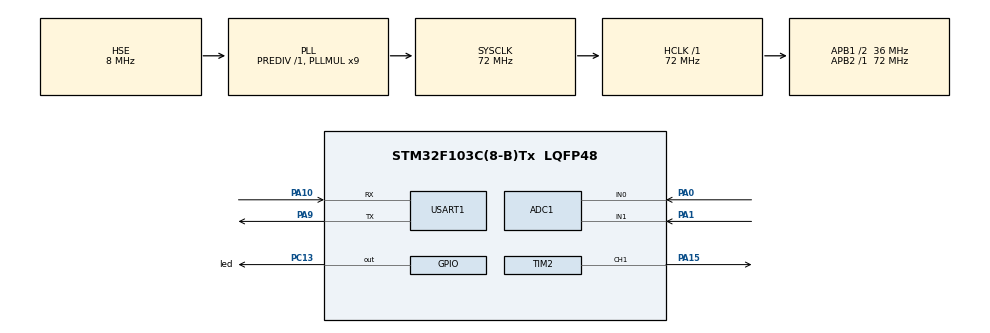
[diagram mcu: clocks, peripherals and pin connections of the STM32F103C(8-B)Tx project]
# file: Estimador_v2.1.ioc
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Mcu.Family=STM32F1
RCC.PLLSourceVirtual=RCC_PLLSOURCE_HSE
NVIC.ADC1_2_IRQn=true\:0\:0\:false\:false\:true\:true\:true
Dma.ADC1.0.Instance=DMA1_Channel1
ADC1.Rank-0\#ChannelRegularConversion=1
TIM3.Channel-Output\ Compare1\ No\ Output=TIM_CHANNEL_1
PD1-OSC_OUT.Mode=HSE-External-Oscillator
PA10.Mode=Asynchronous
PC13-TAMPER-RTC.Signal=GPIO_Output
PD0-OSC_IN.Signal=RCC_OSC_IN
RCC.APB1CLKDivider=RCC_HCLK_DIV2
RCC.SYSCLKSource=RCC_SYSCLKSOURCE_PLLCLK
ProjectManager.StackSize=0x400
PA0-WKUP.Signal=ADCx_IN0
TIM2.Pulse-PWM\ Generation1\ CH1=127
PD1-OSC_OUT.Signal=RCC_OSC_OUT
RCC.ADCPresc=RCC_ADCPCLK2_DIV6
PA13.Signal=SYS_JTMS-SWDIO
Dma.ADC1.0.PeriphDataAlignment=DMA_PDATAALIGN_HALFWORD
PA9.Mode=Asynchronous
ProjectManager.TargetToolchain=STM32CubeIDE
Dma.ADC1.0.Mode=DMA_CIRCULAR
RCC.HCLKFreq_Value=72000000
Dma.ADC1.0.Priority=DMA_PRIORITY_LOW
RCC.APB2TimFreq_Value=72000000
TIM3.Period=2 - 1
PA9.Signal=USART1_TX
ADC1.Channel-1\#ChannelRegularConversion=ADC_CHANNEL_1
Dma.ADC1.0.Direction=DMA_PERIPH_TO_MEMORY
RCC.USBFreq_Value=72000000
TIM4.Prescaler=72 - 1
Dma.ADC1.0.MemDataAlignment=DMA_MDATAALIGN_HALFWORD
PA1.Signal=ADCx_IN1
RCC.AHBFreq_Value=72000000
PD0-OSC_IN.Mode=HSE-External-Oscillator
ADC1.Channel-0\#ChannelRegularConversion=ADC_CHANNEL_0
board=custom
VP_TIM3_VS_no_output1.Mode=Output Compare1 No Output
PC13-TAMPER-RTC.GPIO_Label=led
RCC.PLLMUL=RCC_PLL_MUL9
RCC.APB2Freq_Value=72000000
VP_TIM2_VS_ClockSourceINT.Mode=Internal
PA14.Mode=Serial_Wire
TIM3.Prescaler=720 - 1
Dma.ADC1.0.PeriphInc=DMA_PINC_DISABLE
SH.ADCx_IN0.0=ADC1_IN0,IN0
TIM2.Channel-PWM\ Generation1\ CH1=TIM_CHANNEL_1
SH.S_TIM3_CH1.0=TIM3_CH1
TIM2.Period=256 - 1
TIM4.Period=65536 - 1
ADC1.NbrOfConversion=2
PA13.Mode=Serial_Wire
Mcu.Name=STM32F103C(8-B)Tx
ADC1.SamplingTime-0\#ChannelRegularConversion=ADC_SAMPLETIME_1CYCLE_5
ADC1.ExternalTrigConv=ADC_EXTERNALTRIGCONV_T3_TRGO
ADC1.SamplingTime-1\#ChannelRegularConversion=ADC_SAMPLETIME_1CYCLE_5
RCC.SYSCLKFreq_VALUE=72000000
Mcu.Package=LQFP48
TIM2.Prescaler=1 - 1
ADC1.master=1
USART1.VirtualMode=VM_ASYNC
ADC1.Rank-1\#ChannelRegularConversion=2
SH.S_TIM2_CH1_ETR.0=TIM2_CH1,PWM Generation1 CH1
PA10.Signal=USART1_RX
PA14.Signal=SYS_JTCK-SWCLK
Dma.ADC1.0.MemInc=DMA_MINC_ENABLE
PA15.Signal=S_TIM2_CH1_ETR
ProjectManager.HeapSize=0x200
VP_TIM4_VS_ClockSourceINT.Mode=Internal
NVIC.PriorityGroup=NVIC_PRIORITYGROUP_4
ADC1.NbrOfConversionFlag=1
SH.ADCx_IN1.0=ADC1_IN1,IN1
RCC.APB1TimFreq_Value=72000000
NVIC.DMA1_Channel1_IRQn=true\:0\:0\:false\:false\:true\:false\:true
TIM3.TIM_MasterOutputTrigger=TIM_TRGO_UPDATE
NVIC.USART1_IRQn=true\:0\:0\:false\:false\:true\:true\:true
Dma.Request0=ADC1
RCC.APB1Freq_Value=36000000
VP_TIM3_VS_ClockSourceINT.Mode=Internal
PB4.Signal=S_TIM3_CH1

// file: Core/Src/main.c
/* USER CODE BEGIN Header */
/**
  ******************************************************************************
  * @file           : main.c
  * @brief          : Main program body
  ******************************************************************************
  * @attention
  *
  * <h2><center>&copy; Copyright (c) 2021 STMicroelectronics.
  * All rights reserved.</center></h2>
  *
  * This software component is licensed by ST under BSD 3-Clause license,
  * the "License"; You may not use this file except in compliance with the
  * License. You may obtain a copy of the License at:
  *                        opensource.org/licenses/BSD-3-Clause
  *
  ******************************************************************************
  */
/* USER CODE END Header */
#include "main.h"

/* USER CODE BEGIN Includes */
#include <stdio.h>
#include <stdlib.h>
#include <string.h>
#include <math.h>
#include "muestras.h"
#include "fdacoefs.h"
#include "fda_derivador.h"

/* USER CODE END Includes */

/* USER CODE BEGIN PM */
#define min(a,b) (((a)<(b))?(a):(b))
#define max(a,b) (((a)>(b))?(a):(b))
/* USER CODE END PM */

ADC_HandleTypeDef hadc1;
DMA_HandleTypeDef hdma_adc1;

TIM_HandleTypeDef htim2;
TIM_HandleTypeDef htim3;
TIM_HandleTypeDef htim4;

UART_HandleTypeDef huart1;

/* USER CODE BEGIN PV */
volatile uint16_t counter = 0;
const int pwmGain = 800;
volatile int8_t sign = 1;
uint16_t numViL;

uint16_t tStart, tEnd, tTotal;

uint8_t printSerial = 0;
uint32_t tLast = 0;
const uint8_t printInterval = 20;		//20 ms

#define adcSamples 100
uint16_t adcBuf[adcSamples];

volatile uint16_t adcVal[2];
#define numSamples  adcSamples / 2

uint16_t adc_ch0[numSamples];
uint16_t adc_ch1[numSamples];

volatile uint8_t adcConverted = 0;
/*const uint16_t fs = 50000;
const float RL = 0.2;
const float L_4mm = 16.2e-3;
float ViL[numSamples];
float IL[numSamples];
float ILmed;
float deltaIL;
float derivadas[numSamples];
float Yestimada[numSamples];
float Yestimada_promedio;
*/

const int fixedPointGain = 1000;
const uint16_t fs = 50000;
const float RL = 0.2;
const float L_4mm = 16.2e-3;
const float Kh = 0.05;				//transductancia del sensor de efecto Hall
uint16_t vilIndex = 0;
#define N_ADC 16
const int n = N_ADC - 1;
uint16_t muestrasHall[N_ADC];
uint16_t muestrasRef[N_ADC];
int32_t muestrasADC[N_ADC];
int32_t IL[N_ADC];
int32_t ILmed;
float deltaIL;
int16_t derivadas[N_ADC];
int32_t derivadas_filtrada[N_ADC];
int32_t Yestimada[N_ADC];
int32_t Yestimada_filtrada[N_ADC];

void getViL(float * ViL, uint16_t * adc){
	float res = 3.3 / 4096;
	for(int i = 0; i < numSamples; i++){
		ViL[i] = adc[i] * res;
	}
}

float corriente(float Xn){
		return Xn / Kh;
}

float corriente_media(float * IL){
	float sum = 0;
	for(int i = 0; i<numSamples; i++){
		sum += IL[i];
	}
	return sum/numSamples;
}

float delta_corriente(float * IL){
	float ILmax = 0;
	float ILmin = 100;
	for(int i= 0; i<numSamples; i++){
		ILmax = max(IL[i], ILmax);
		ILmin = min(IL[i], ILmin);
	}
	return ILmax - ILmin;
}

int16_t derivar(uint16_t * muestrasHall){
	int16_t deriv = (muestrasHall[n] - muestrasHall[n - 1]);	//acá tengo la diferencia en el número que lee el adc
//	deriv += ILmed * 0.05 * RL / L_4mm;			//corrección I * R
	return deriv;
}

float estimar(int16_t derivada){
		float estim = abs(derivada) * 4.74e-3 - 4.55e-3;
		if(estim < 800e-3)
			return estim;
		else
			return 8e-3;						//esto lo hago para que la primera muestra no sea tan erronea
}

float filtrar(float * X, const float * B){			//acá la Y significa la salida del filtro, no la posición en mm
	float out = 0;
	for (int i = 0; i < N_ADC; i++) {				//acá aplico el filtro
		out += B[i] * X[n - i];			//B son los coeficientes de un filtro FIR
	 }
	 return out;
}

float promediar(float * Yestimada){
	float sum = 0;
	for(int i = 0; i < numSamples; i++){
		sum += Yestimada[i];
	}
	return sum / numSamples;
}

/* USER CODE END PV */

void SystemClock_Config(void);
static void MX_GPIO_Init(void);
static void MX_DMA_Init(void);
static void MX_TIM3_Init(void);
static void MX_TIM4_Init(void);
static void MX_ADC1_Init(void);
static void MX_TIM2_Init(void);
static void MX_USART1_UART_Init(void);

int main(void)
{

  /* MCU Configuration--------------------------------------------------------*/

  /* Reset of all peripherals, Initializes the Flash interface and the Systick. */
  HAL_Init();

  /* Configure the system clock */
  SystemClock_Config();

  /* Initialize all configured peripherals */
  MX_GPIO_Init();
  MX_DMA_Init();
  MX_TIM3_Init();
  MX_TIM4_Init();
  MX_ADC1_Init();
  MX_TIM2_Init();
  MX_USART1_UART_Init();
  /* USER CODE BEGIN 2 */
  /*
  //esto es para generar una señal de prueba en pwm. Se puede anular esta parte cuando hacemos pruebas en la placa real
   HAL_TIM_PWM_Start(&htim2, TIM_CHANNEL_1);
   HAL_TIM_Base_Start_IT(&htim4);
   //uint16_t loopDelay = 1;
    numViL = sizeof(ViLmuestras)/sizeof(ViLmuestras[0]);
    int loopCount = 0;
 */

   //cosas del adc
   HAL_TIM_Base_Start(&htim3);				//inicio el timer 3 para comenzar las conversiones del ADC
   HAL_ADC_Start_DMA(&hadc1, (uint32_t *) adcVal, 2);			//inicio adc dma
       	  	  	  	  	  	  	  	  	  	  	  	  	  	  	//para que lea la cantidad numSamples
   	  	  	  	  	  	  	  	  	  	  	  	  	  	  	  	//y luego dispare una interrupción
   //para medir el tiempo que tarda en ejecutar el código
   HAL_TIM_Base_Start(&htim4);

  /* USER CODE END 2 */

  /* Infinite loop */
  while (1)
  {

    /* USER CODE BEGIN 3 */

	  if(adcConverted){
		 tStart = __HAL_TIM_GET_COUNTER(&htim4);		//para calcular el tiempo que tarda
		 adcConverted = 0;								//reseteo el flag del adc
		// HAL_TIM_Base_Stop(&htim3);			//paro el timer del adc (esto es temporal)
		// HAL_GPIO_TogglePin(led_GPIO_Port, led_Pin);		//esto es para ver la frecuencia de muestreo

		 //esto es para separar las muestras del canal 1 y el 2
		 //leo la muestra de corriente y la pongo al final del array del sensor de efecto hall
		  muestrasHall[n] = adcVal[0];
		  muestrasRef[n] = adcVal[1];

		  //convierto el valor del ADC en valor de tensión
		  //muestrasADC[n] = (muestrasHall[n] * 3.3 / 4096) / pwmGain;
		//  muestrasADC[n] = muestrasHall[n] * (8.056e-4 * fixedPointGain);	//3.3/4096 = 8.056e-4

		//  IL[n] = corriente(muestrasADC[n]);					//calculo el valor en corriente
		//  ILmed = (IL[n] + ILmed) / 2;							//añado al promedio movil
		  //deltaIL
		  derivadas[n]  = derivar(muestrasHall);			//calculo la derivada con la muestra anterior
		  //derivadas_filtrada[n] = filtrar(derivadas, Bderiv);	//filtro las derivadas obtenidas
		  Yestimada[n]  = estimar(derivadas[n]);
		  //Yestimada_filtrada[n] = filtrar(Yestimada, Bposicion);	//filtro

		  //acá paso todos los valores un lugar a la izquierda
		  //for (int i = n; i > 0; i--) {
				//muestrasHall[n - i] = muestrasHall[n - i + 1];
				//muestrasRef[n - i] = muestrasRef[n - i + 1];
				//muestrasADC[n - i] = muestrasADC[n - i + 1];
				//IL[n - i] = IL[n - i + 1];
				//derivadas[n - i] = derivadas[n - i + 1];
				//derivadas_filtrada[n - i] = derivadas_filtrada[n - i + 1];
				//Yestimada[n - i] = Yestimada[n - i + 1];
				//Yestimada_filtrada[n - i] = Yestimada_filtrada[n - i + 1];
		//	  }

		  muestrasHall[n - 1] = muestrasHall[n];

		  //esto es para graficar cada 20ms
	/*	  if(printSerial){
			  if(HAL_GetTick() - tLast > printInterval){
				  tLast = HAL_GetTick();
					 // uint16_t s1 = Yestimada[n] * 1e6;
					 // uint16_t s2 = Yestimada_filtrada[n] * 1e6;
					  uint16_t s1 = derivadas[n];
					  uint16_t s2 = derivadas_filtrada[n];
					 // uint16_t s1 = muestrasRef[n];
					 // uint16_t s1 = muestrasADC[n] * 1e6;
					 // uint16_t s2 = ILmed * 1e6;
					  char str[20];
					  sprintf(str, "%d,%d\r\n", s1, s2);
					 // sprintf(str, "%d\r\n", s1);
					  HAL_UART_Transmit(&huart1, (uint8_t * ) str, strlen(str), 100);
			  }
		  }
		  else if(++loopCount == 10000) {     //esto es para pausar el muestreo y graficar variables, después de cierta cantidad de muestras
			 for(uint8_t i = 0; i < N_ADC; i++){
				// uint16_t s1 = derivadas[i];
				 uint16_t s1 = muestrasHall[i];
				 char str[20];
				 // sprintf(str, "%d,%d\r\n", s1, s2);
				 sprintf(str, "%d\r\n", s1);
				 HAL_UART_Transmit(&huart1, (uint8_t * ) str, strlen(str), 100);
			 }
			 loopCount = 0;
		 }   */

		 tEnd = __HAL_TIM_GET_COUNTER(&htim4);
		 tTotal = tEnd - tStart;
		 HAL_GPIO_TogglePin(led_GPIO_Port, led_Pin);		//esto es para ver cuanto tarda en ejecutar el código
		// HAL_TIM_Base_Start(&htim3);
	 }

  }
  /* USER CODE END 3 */
}

void SystemClock_Config(void)
{
  RCC_OscInitTypeDef RCC_OscInitStruct = {0};
  RCC_ClkInitTypeDef RCC_ClkInitStruct = {0};
  RCC_PeriphCLKInitTypeDef PeriphClkInit = {0};

  /** Initializes the RCC Oscillators according to the specified parameters
  * in the RCC_OscInitTypeDef structure.
  */
  RCC_OscInitStruct.OscillatorType = RCC_OSCILLATORTYPE_HSE;
  RCC_OscInitStruct.HSEState = RCC_HSE_ON;
  RCC_OscInitStruct.HSEPredivValue = RCC_HSE_PREDIV_DIV1;
  RCC_OscInitStruct.HSIState = RCC_HSI_ON;
  RCC_OscInitStruct.PLL.PLLState = RCC_PLL_ON;
  RCC_OscInitStruct.PLL.PLLSource = RCC_PLLSOURCE_HSE;
  RCC_OscInitStruct.PLL.PLLMUL = RCC_PLL_MUL9;
  if (HAL_RCC_OscConfig(&RCC_OscInitStruct) != HAL_OK)
  {
    Error_Handler();
  }
  /** Initializes the CPU, AHB and APB buses clocks
  */
  RCC_ClkInitStruct.ClockType = RCC_CLOCKTYPE_HCLK|RCC_CLOCKTYPE_SYSCLK
                              |RCC_CLOCKTYPE_PCLK1|RCC_CLOCKTYPE_PCLK2;
  RCC_ClkInitStruct.SYSCLKSource = RCC_SYSCLKSOURCE_PLLCLK;
  RCC_ClkInitStruct.AHBCLKDivider = RCC_SYSCLK_DIV1;
  RCC_ClkInitStruct.APB1CLKDivider = RCC_HCLK_DIV2;
  RCC_ClkInitStruct.APB2CLKDivider = RCC_HCLK_DIV1;

  if (HAL_RCC_ClockConfig(&RCC_ClkInitStruct, FLASH_LATENCY_2) != HAL_OK)
  {
    Error_Handler();
  }
  PeriphClkInit.PeriphClockSelection = RCC_PERIPHCLK_ADC;
  PeriphClkInit.AdcClockSelection = RCC_ADCPCLK2_DIV6;
  if (HAL_RCCEx_PeriphCLKConfig(&PeriphClkInit) != HAL_OK)
  {
    Error_Handler();
  }
}

static void MX_ADC1_Init(void)
{

  ADC_ChannelConfTypeDef sConfig = {0};

  /** Common config
  */
  hadc1.Instance = ADC1;
  hadc1.Init.ScanConvMode = ADC_SCAN_ENABLE;
  hadc1.Init.ContinuousConvMode = DISABLE;
  hadc1.Init.DiscontinuousConvMode = DISABLE;
  hadc1.Init.ExternalTrigConv = ADC_EXTERNALTRIGCONV_T3_TRGO;
  hadc1.Init.DataAlign = ADC_DATAALIGN_RIGHT;
  hadc1.Init.NbrOfConversion = 2;
  if (HAL_ADC_Init(&hadc1) != HAL_OK)
  {
    Error_Handler();
  }
  /** Configure Regular Channel
  */
  sConfig.Channel = ADC_CHANNEL_0;
  sConfig.Rank = ADC_REGULAR_RANK_1;
  sConfig.SamplingTime = ADC_SAMPLETIME_1CYCLE_5;
  if (HAL_ADC_ConfigChannel(&hadc1, &sConfig) != HAL_OK)
  {
    Error_Handler();
  }
  /** Configure Regular Channel
  */
  sConfig.Channel = ADC_CHANNEL_1;
  sConfig.Rank = ADC_REGULAR_RANK_2;
  if (HAL_ADC_ConfigChannel(&hadc1, &sConfig) != HAL_OK)
  {
    Error_Handler();
  }

}

static void MX_TIM2_Init(void)
{

  TIM_ClockConfigTypeDef sClockSourceConfig = {0};
  TIM_MasterConfigTypeDef sMasterConfig = {0};
  TIM_OC_InitTypeDef sConfigOC = {0};

  htim2.Instance = TIM2;
  htim2.Init.Prescaler = 1 - 1;
  htim2.Init.CounterMode = TIM_COUNTERMODE_UP;
  htim2.Init.Period = 256 - 1;
  htim2.Init.ClockDivision = TIM_CLOCKDIVISION_DIV1;
  htim2.Init.AutoReloadPreload = TIM_AUTORELOAD_PRELOAD_DISABLE;
  if (HAL_TIM_Base_Init(&htim2) != HAL_OK)
  {
    Error_Handler();
  }
  sClockSourceConfig.ClockSource = TIM_CLOCKSOURCE_INTERNAL;
  if (HAL_TIM_ConfigClockSource(&htim2, &sClockSourceConfig) != HAL_OK)
  {
    Error_Handler();
  }
  if (HAL_TIM_PWM_Init(&htim2) != HAL_OK)
  {
    Error_Handler();
  }
  sMasterConfig.MasterOutputTrigger = TIM_TRGO_RESET;
  sMasterConfig.MasterSlaveMode = TIM_MASTERSLAVEMODE_DISABLE;
  if (HAL_TIMEx_MasterConfigSynchronization(&htim2, &sMasterConfig) != HAL_OK)
  {
    Error_Handler();
  }
  sConfigOC.OCMode = TIM_OCMODE_PWM1;
  sConfigOC.Pulse = 127;
  sConfigOC.OCPolarity = TIM_OCPOLARITY_HIGH;
  sConfigOC.OCFastMode = TIM_OCFAST_DISABLE;
  if (HAL_TIM_PWM_ConfigChannel(&htim2, &sConfigOC, TIM_CHANNEL_1) != HAL_OK)
  {
    Error_Handler();
  }
  HAL_TIM_MspPostInit(&htim2);

}

static void MX_TIM3_Init(void)
{

  TIM_ClockConfigTypeDef sClockSourceConfig = {0};
  TIM_MasterConfigTypeDef sMasterConfig = {0};
  TIM_OC_InitTypeDef sConfigOC = {0};

  htim3.Instance = TIM3;
  htim3.Init.Prescaler = 720 - 1;
  htim3.Init.CounterMode = TIM_COUNTERMODE_UP;
  htim3.Init.Period = 2 - 1;
  htim3.Init.ClockDivision = TIM_CLOCKDIVISION_DIV1;
  htim3.Init.AutoReloadPreload = TIM_AUTORELOAD_PRELOAD_DISABLE;
  if (HAL_TIM_Base_Init(&htim3) != HAL_OK)
  {
    Error_Handler();
  }
  sClockSourceConfig.ClockSource = TIM_CLOCKSOURCE_INTERNAL;
  if (HAL_TIM_ConfigClockSource(&htim3, &sClockSourceConfig) != HAL_OK)
  {
    Error_Handler();
  }
  if (HAL_TIM_OC_Init(&htim3) != HAL_OK)
  {
    Error_Handler();
  }
  sMasterConfig.MasterOutputTrigger = TIM_TRGO_UPDATE;
  sMasterConfig.MasterSlaveMode = TIM_MASTERSLAVEMODE_DISABLE;
  if (HAL_TIMEx_MasterConfigSynchronization(&htim3, &sMasterConfig) != HAL_OK)
  {
    Error_Handler();
  }
  sConfigOC.OCMode = TIM_OCMODE_TIMING;
  sConfigOC.Pulse = 0;
  sConfigOC.OCPolarity = TIM_OCPOLARITY_HIGH;
  sConfigOC.OCFastMode = TIM_OCFAST_DISABLE;
  if (HAL_TIM_OC_ConfigChannel(&htim3, &sConfigOC, TIM_CHANNEL_1) != HAL_OK)
  {
    Error_Handler();
  }

}

static void MX_TIM4_Init(void)
{

  TIM_ClockConfigTypeDef sClockSourceConfig = {0};
  TIM_MasterConfigTypeDef sMasterConfig = {0};

  htim4.Instance = TIM4;
  htim4.Init.Prescaler = 72 - 1;
  htim4.Init.CounterMode = TIM_COUNTERMODE_UP;
  htim4.Init.Period = 65536 - 1;
  htim4.Init.ClockDivision = TIM_CLOCKDIVISION_DIV1;
  htim4.Init.AutoReloadPreload = TIM_AUTORELOAD_PRELOAD_DISABLE;
  if (HAL_TIM_Base_Init(&htim4) != HAL_OK)
  {
    Error_Handler();
  }
  sClockSourceConfig.ClockSource = TIM_CLOCKSOURCE_INTERNAL;
  if (HAL_TIM_ConfigClockSource(&htim4, &sClockSourceConfig) != HAL_OK)
  {
    Error_Handler();
  }
  sMasterConfig.MasterOutputTrigger = TIM_TRGO_RESET;
  sMasterConfig.MasterSlaveMode = TIM_MASTERSLAVEMODE_DISABLE;
  if (HAL_TIMEx_MasterConfigSynchronization(&htim4, &sMasterConfig) != HAL_OK)
  {
    Error_Handler();
  }

}

static void MX_USART1_UART_Init(void)
{

  huart1.Instance = USART1;
  huart1.Init.BaudRate = 115200;
  huart1.Init.WordLength = UART_WORDLENGTH_8B;
  huart1.Init.StopBits = UART_STOPBITS_1;
  huart1.Init.Parity = UART_PARITY_NONE;
  huart1.Init.Mode = UART_MODE_TX_RX;
  huart1.Init.HwFlowCtl = UART_HWCONTROL_NONE;
  huart1.Init.OverSampling = UART_OVERSAMPLING_16;
  if (HAL_UART_Init(&huart1) != HAL_OK)
  {
    Error_Handler();
  }

}

static void MX_DMA_Init(void)
{

  /* DMA controller clock enable */
  __HAL_RCC_DMA1_CLK_ENABLE();

  /* DMA interrupt init */
  /* DMA1_Channel1_IRQn interrupt configuration */
  HAL_NVIC_SetPriority(DMA1_Channel1_IRQn, 0, 0);
  HAL_NVIC_EnableIRQ(DMA1_Channel1_IRQn);

}

static void MX_GPIO_Init(void)
{
  GPIO_InitTypeDef GPIO_InitStruct = {0};

  /* GPIO Ports Clock Enable */
  __HAL_RCC_GPIOC_CLK_ENABLE();
  __HAL_RCC_GPIOD_CLK_ENABLE();
  __HAL_RCC_GPIOA_CLK_ENABLE();
  __HAL_RCC_GPIOB_CLK_ENABLE();

  /*Configure GPIO pin Output Level */
  HAL_GPIO_WritePin(led_GPIO_Port, led_Pin, GPIO_PIN_RESET);

  /*Configure GPIO pin : led_Pin */
  GPIO_InitStruct.Pin = led_Pin;
  GPIO_InitStruct.Mode = GPIO_MODE_OUTPUT_PP;
  GPIO_InitStruct.Pull = GPIO_NOPULL;
  GPIO_InitStruct.Speed = GPIO_SPEED_FREQ_LOW;
  HAL_GPIO_Init(led_GPIO_Port, &GPIO_InitStruct);

}

/* USER CODE BEGIN 4 */

//callback para cuando finalizan las conversiones del ADC
void HAL_ADC_ConvCpltCallback(ADC_HandleTypeDef * hadc){
	if(hadc->Instance == hadc1.Instance){
		adcConverted = 1;					//activo el flag del adc1
		// HAL_GPIO_TogglePin(led_GPIO_Port, led_Pin);		//esto es para ver la frecuencia de muestreo
	}
}

/* USER CODE END 4 */

void Error_Handler(void)
{
  __disable_irq();
  while (1)
  {
  }
}

/************************ (C) COPYRIGHT STMicroelectronics *****END OF FILE****/
